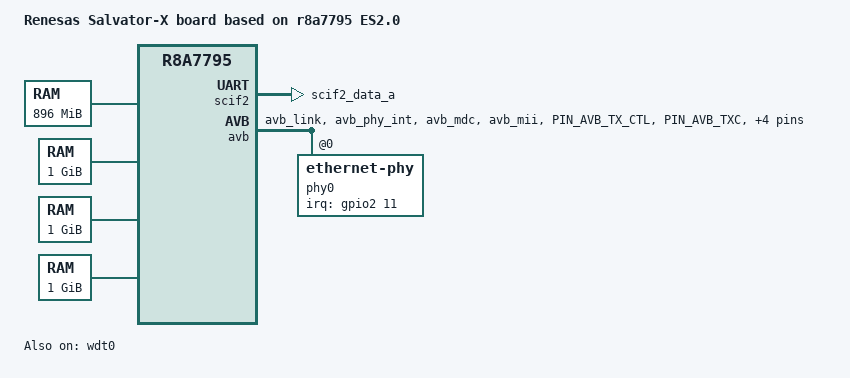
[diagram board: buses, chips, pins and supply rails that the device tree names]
/*
 * Device Tree Source for the Salvator-X board
 *
 * Copyright (C) 2015 Renesas Electronics Corp.
 *
 * This file is licensed under the terms of the GNU General Public License
 * version 2.  This program is licensed "as is" without any warranty of any
 * kind, whether express or implied.
 */

/dts-v1/;
#include <dt-bindings/gpio/gpio.h>

#include "r8a7795es2.dtsi"

/ {
	model = "Renesas Salvator-X board based on r8a7795 ES2.0";
	compatible = "renesas,salvator-x", "renesas,r8a7795";

	aliases {
		serial0 = &scif2;
		ethernet0 = &avb;
	};

	chosen {
		bootargs = "ignore_loglevel rw root=/dev/nfs ip=dhcp";
		stdout-path = "serial0:115200n8";
	};

	memory@48000000 {
		device_type = "memory";
		/* first 128MB is reserved for secure area. */
		reg = <0x0 0x48000000 0x0 0x38000000>;
	};

	memory@500000000 {
		device_type = "memory";
		reg = <5 0x00000000 0 0x40000000>;
	};

	memory@600000000 {
		device_type = "memory";
		reg = <6 0x00000000 0 0x40000000>;
	};

	memory@700000000 {
		device_type = "memory";
		reg = <7 0x00000000 0 0x40000000>;
	};
};

&extal_clk {
	clock-frequency = <16666666>;
};

&extalr_clk {
	clock-frequency = <32768>;
};

&pfc {
	pinctrl-0 = <&scif_clk_pins>;
	pinctrl-names = "default";

	scif2_pins: scif2 {
		groups = "scif2_data_a";
		function = "scif2";
	};
	scif_clk_pins: scif_clk {
		groups = "scif_clk_a";
		function = "scif_clk";
	};

	avb_pins: avb {
		mux {
			groups = "avb_link", "avb_phy_int", "avb_mdc",
				 "avb_mii";
			function = "avb";
		};

		pins_mdc {
			groups = "avb_mdc";
			drive-strength = <24>;
		};

		pins_mii_tx {
			pins = "PIN_AVB_TX_CTL", "PIN_AVB_TXC", "PIN_AVB_TD0",
			       "PIN_AVB_TD1", "PIN_AVB_TD2", "PIN_AVB_TD3";
			drive-strength = <12>;
		};
	};
};

&scif2 {
	pinctrl-0 = <&scif2_pins>;
	pinctrl-names = "default";

	status = "okay";
};

&scif_clk {
	clock-frequency = <14745600>;
};

&wdt0 {
	timeout-sec = <60>;
	status = "okay";
};

&avb {
	pinctrl-0 = <&avb_pins>;
	pinctrl-names = "default";
	renesas,no-ether-link;
	phy-handle = <&phy0>;
	status = "okay";

	phy0: ethernet-phy@0 {
		rxc-skew-ps = <1500>;
		reg = <0>;
		interrupt-parent = <&gpio2>;
		interrupts = <11 IRQ_TYPE_LEVEL_LOW>;
	};
};
